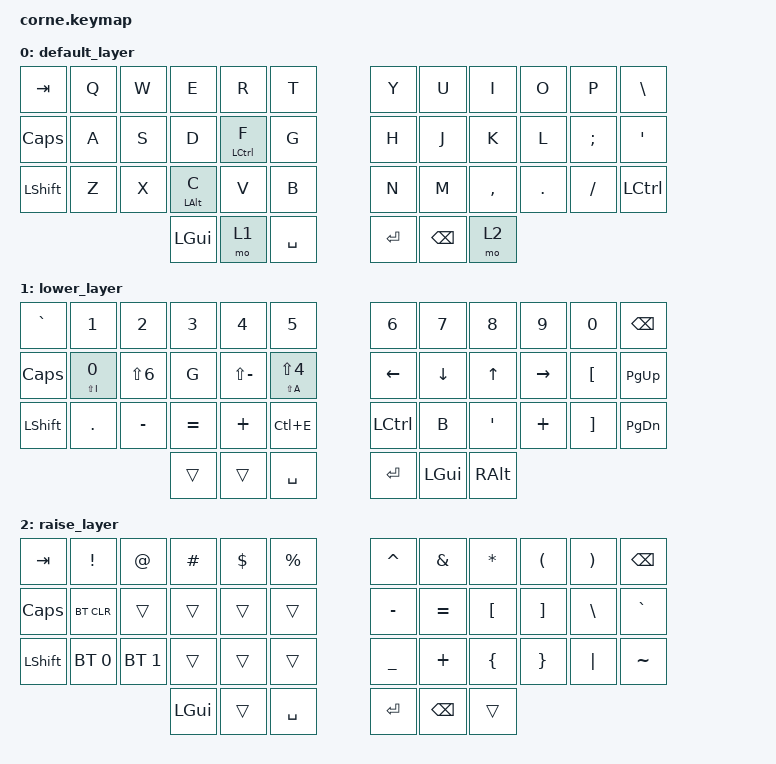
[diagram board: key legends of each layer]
/*
 * Copyright (c) 2020 The ZMK Contributors
 *
 * SPDX-License-Identifier: MIT
 */

#include <behaviors.dtsi>
#include <dt-bindings/zmk/bt.h>
#include <dt-bindings/zmk/keys.h>

&mt {
    tapping-term-ms = <400>;
    flavor = "tap-preferred";
};

/ {
    keymap {
        compatible = "zmk,keymap";

        default_layer {
            // -----------------------------------------------------------------------------------------
            // |  TAB |  Q  |  W  |  E  |  R  |  T  |   |  Y  |  U   |  I  |  O  |  P  | BSPC |
            // | CTRL |  A  |  S  |  D  |  F  |  G  |   |  H  |  J   |  K  |  L  |  ;  |  '   |
            // | SHFT |  Z  |  X  |  C  |  V  |  B  |   |  N  |  M   |  ,  |  .  |  /  | ESC  |
            //                    | GUI | LWR | SPC |   | ENT | RSE  | ALT |

            bindings = <
&kp TAB    &kp Q  &kp W  &kp E           &kp R               &kp T        &kp Y    &kp U     &kp I      &kp O    &kp P     &kp BACKSLASH
&kp CAPS   &kp A  &kp S  &kp D           &mt LEFT_CONTROL F  &kp G        &kp H    &kp J     &kp K      &kp L    &kp SEMI  &kp SQT
&kp LSHFT  &kp Z  &kp X  &mt LEFT_ALT C  &kp V               &kp B        &kp N    &kp M     &kp COMMA  &kp DOT  &kp FSLH  &kp LEFT_CONTROL
                         &kp LGUI        &mo 1               &kp SPACE    &kp RET  &kp BSPC  &mo 2
            >;
        };

        lower_layer {
            // -----------------------------------------------------------------------------------------
            // |  TAB |  1  |  2  |  3  |  4  |  5  |   |  6  |  7  |  8  |  9  |  0  | BSPC |
            // | BTCLR| BT1 | BT2 | BT3 | BT4 | BT5 |   | LFT | DWN |  UP | RGT |     |      |
            // | SHFT |     |     |     |     |     |   |     |     |     |     |     |      |
            //                    | GUI |     | SPC |   | ENT |     | ALT |

            bindings = <
&kp GRAVE  &kp N1        &kp N2            &kp N3     &kp N4         &kp N5                    &kp N6            &kp N7        &kp N8    &kp N9     &kp N0             &kp BSPC
&kp CAPS   &mt LS(I) N0  &kp LS(NUMBER_6)  &kp G      &kp LS(MINUS)  &mt LS(A) LS(NUMBER_4)    &kp LEFT          &kp DOWN      &kp UP    &kp RIGHT  &kp LEFT_BRACKET   &kp PAGE_UP
&kp LSHFT  &kp PERIOD    &kp MINUS         &kp EQUAL  &kp PLUS       &kp LC(E)                 &kp LEFT_CONTROL  &kp B         &kp APOS  &kp PLUS   &kp RIGHT_BRACKET  &kp PAGE_DOWN
                                           &trans     &trans         &kp SPACE                 &kp RET           &kp LEFT_GUI  &kp RALT
            >;
        };

        raise_layer {
            // -----------------------------------------------------------------------------------------
            // |  TAB |  !  |  @  |  #  |  $  |  %  |   |  ^  |  &  |  *  |  (  |  )  | BSPC |
            // | CTRL |     |     |     |     |     |   |  -  |  =  |  [  |  ]  |  \  |  `   |
            // | SHFT |     |     |     |     |     |   |  _  |  +  |  {  |  }  | "|" |  ~   |
            //                    | GUI |     | SPC |   | ENT |     | ALT |

            bindings = <
&kp TAB    &kp EXCL      &kp AT        &kp HASH  &kp DLLR  &kp PRCNT    &kp CARET  &kp AMPS   &kp ASTRK  &kp LPAR  &kp RPAR  &kp BSPC
&kp CAPS   &bt BT_CLR    &trans        &trans    &trans    &trans       &kp MINUS  &kp EQUAL  &kp LBKT   &kp RBKT  &kp BSLH  &kp GRAVE
&kp LSHFT  &bt BT_SEL 0  &bt BT_SEL 1  &trans    &trans    &trans       &kp UNDER  &kp PLUS   &kp LBRC   &kp RBRC  &kp PIPE  &kp TILDE
                                       &kp LGUI  &trans    &kp SPACE    &kp RET    &kp BSPC   &trans
            >;
        };
    };
};
